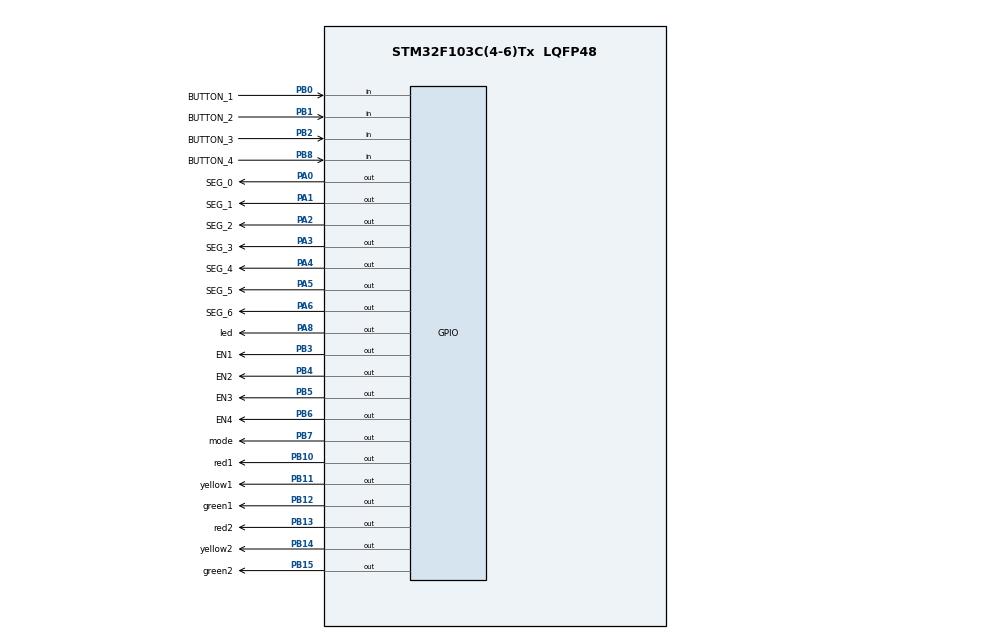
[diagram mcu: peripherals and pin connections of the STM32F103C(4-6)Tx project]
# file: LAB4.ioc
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Mcu.Family=STM32F1
Mcu.Name=STM32F103C(4-6)Tx
Mcu.Package=LQFP48
NVIC.PriorityGroup=NVIC_PRIORITYGROUP_4
NVIC.TIM2_IRQn=true\:0\:0\:false\:false\:true\:true\:true\:true
PA0-WKUP.GPIO_Label=SEG_0
PA0-WKUP.Signal=GPIO_Output
PA1.GPIO_Label=SEG_1
PA1.Signal=GPIO_Output
PA2.GPIO_Label=SEG_2
PA2.Signal=GPIO_Output
PA3.GPIO_Label=SEG_3
PA3.Signal=GPIO_Output
PA4.GPIO_Label=SEG_4
PA4.Signal=GPIO_Output
PA5.GPIO_Label=SEG_5
PA5.Signal=GPIO_Output
PA6.GPIO_Label=SEG_6
PA6.Signal=GPIO_Output
PA8.GPIO_Label=led
PA8.Signal=GPIO_Output
PB0.GPIO_Label=BUTTON_1
PB0.Signal=GPIO_Input
PB1.GPIO_Label=BUTTON_2
PB1.Signal=GPIO_Input
PB10.GPIO_Label=red1
PB10.Signal=GPIO_Output
PB11.GPIO_Label=yellow1
PB11.Signal=GPIO_Output
PB12.GPIO_Label=green1
PB12.Signal=GPIO_Output
PB13.GPIO_Label=red2
PB13.Signal=GPIO_Output
PB14.GPIO_Label=yellow2
PB14.Signal=GPIO_Output
PB15.GPIO_Label=green2
PB15.Signal=GPIO_Output
PB2.GPIO_Label=BUTTON_3
PB2.Signal=GPIO_Input
PB3.GPIO_Label=EN1
PB3.Signal=GPIO_Output
PB4.GPIO_Label=EN2
PB4.Signal=GPIO_Output
PB5.GPIO_Label=EN3
PB5.Signal=GPIO_Output
PB6.GPIO_Label=EN4
PB6.Signal=GPIO_Output
PB7.GPIO_Label=mode
PB7.Signal=GPIO_Output
PB8.GPIO_Label=BUTTON_4
PB8.Signal=GPIO_Input
ProjectManager.HeapSize=0x200
ProjectManager.StackSize=0x400
ProjectManager.TargetToolchain=STM32CubeIDE
RCC.APB1Freq_Value=8000000
RCC.APB2Freq_Value=8000000
TIM2.Period=9
TIM2.Prescaler=7999
VP_TIM2_VS_ClockSourceINT.Mode=Internal
board=custom

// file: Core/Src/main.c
/* USER CODE BEGIN Header */
/**
  ******************************************************************************
  * @file           : main.c
  * @brief          : Main program body
  ******************************************************************************
  * @attention
  *
  * Copyright (c) 2024 STMicroelectronics.
  * All rights reserved.
  *
  * This software is licensed under terms that can be found in the LICENSE file
  * in the root directory of this software component.
  * If no LICENSE file comes with this software, it is provided AS-IS.
  *
  ******************************************************************************
  */
/* USER CODE END Header */
#include "main.h"

/* USER CODE BEGIN Includes */
#include "scheduler.h"
#include "input_processing.h"
#include "input_reading.h"
 #include "led_display.h"
/* USER CODE END Includes */

TIM_HandleTypeDef htim2;

void SystemClock_Config(void);
static void MX_GPIO_Init(void);
static void MX_TIM2_Init(void);

/* USER CODE BEGIN 0 */
//void led1_test(){
//	HAL_GPIO_TogglePin(GPIOA, GPIO_PIN_2);
//}
void HAL_TIM_PeriodElapsedCallback (TIM_HandleTypeDef *htim)
{
	  SCH_Update();

	}
void led1_test(void){
	HAL_GPIO_TogglePin(GPIOA, GPIO_PIN_8);
}

/* USER CODE END 0 */

int main(void)
{

  /* MCU Configuration--------------------------------------------------------*/

  /* Reset of all peripherals, Initializes the Flash interface and the Systick. */
  HAL_Init();

  /* Configure the system clock */
  SystemClock_Config();

  /* Initialize all configured peripherals */
  MX_GPIO_Init();
  MX_TIM2_Init();

  /* Infinite loop */
  /* USER CODE BEGIN WHILE */
  HAL_TIM_Base_Start_IT(&htim2);
  SCH_Init();
  SCH_Add_Task(timeledlight, 2, 10);
  SCH_Add_Task(led1_test, 5, 1000);

  SCH_Add_Task(button_reading, 1, 10);
  SCH_Add_Task(handle_mode, 3, 1000);
  SCH_Add_Task(fsm_for_input_processing, 0, 10);
  while (1)
  {
	  SCH_Dispatch_Tasks();
//	  HAL_GPIO_TogglePin(GPIOB, GPIO_PIN_10);
//	  HAL_Delay(500);
    /* USER CODE END WHILE */

  }
}

void SystemClock_Config(void)
{
  RCC_OscInitTypeDef RCC_OscInitStruct = {0};
  RCC_ClkInitTypeDef RCC_ClkInitStruct = {0};

  /** Initializes the RCC Oscillators according to the specified parameters
  * in the RCC_OscInitTypeDef structure.
  */
  RCC_OscInitStruct.OscillatorType = RCC_OSCILLATORTYPE_HSI;
  RCC_OscInitStruct.HSIState = RCC_HSI_ON;
  RCC_OscInitStruct.HSICalibrationValue = RCC_HSICALIBRATION_DEFAULT;
  RCC_OscInitStruct.PLL.PLLState = RCC_PLL_NONE;
  if (HAL_RCC_OscConfig(&RCC_OscInitStruct) != HAL_OK)
  {
    Error_Handler();
  }

  /** Initializes the CPU, AHB and APB buses clocks
  */
  RCC_ClkInitStruct.ClockType = RCC_CLOCKTYPE_HCLK|RCC_CLOCKTYPE_SYSCLK
                              |RCC_CLOCKTYPE_PCLK1|RCC_CLOCKTYPE_PCLK2;
  RCC_ClkInitStruct.SYSCLKSource = RCC_SYSCLKSOURCE_HSI;
  RCC_ClkInitStruct.AHBCLKDivider = RCC_SYSCLK_DIV1;
  RCC_ClkInitStruct.APB1CLKDivider = RCC_HCLK_DIV1;
  RCC_ClkInitStruct.APB2CLKDivider = RCC_HCLK_DIV1;

  if (HAL_RCC_ClockConfig(&RCC_ClkInitStruct, FLASH_LATENCY_0) != HAL_OK)
  {
    Error_Handler();
  }
}

static void MX_TIM2_Init(void)
{

  TIM_ClockConfigTypeDef sClockSourceConfig = {0};
  TIM_MasterConfigTypeDef sMasterConfig = {0};

  htim2.Instance = TIM2;
  htim2.Init.Prescaler = 7999;
  htim2.Init.CounterMode = TIM_COUNTERMODE_UP;
  htim2.Init.Period = 9;
  htim2.Init.ClockDivision = TIM_CLOCKDIVISION_DIV1;
  htim2.Init.AutoReloadPreload = TIM_AUTORELOAD_PRELOAD_DISABLE;
  if (HAL_TIM_Base_Init(&htim2) != HAL_OK)
  {
    Error_Handler();
  }
  sClockSourceConfig.ClockSource = TIM_CLOCKSOURCE_INTERNAL;
  if (HAL_TIM_ConfigClockSource(&htim2, &sClockSourceConfig) != HAL_OK)
  {
    Error_Handler();
  }
  sMasterConfig.MasterOutputTrigger = TIM_TRGO_RESET;
  sMasterConfig.MasterSlaveMode = TIM_MASTERSLAVEMODE_DISABLE;
  if (HAL_TIMEx_MasterConfigSynchronization(&htim2, &sMasterConfig) != HAL_OK)
  {
    Error_Handler();
  }

}

static void MX_GPIO_Init(void)
{
  GPIO_InitTypeDef GPIO_InitStruct = {0};

  /* GPIO Ports Clock Enable */
  __HAL_RCC_GPIOA_CLK_ENABLE();
  __HAL_RCC_GPIOB_CLK_ENABLE();

  /*Configure GPIO pin Output Level */
  HAL_GPIO_WritePin(GPIOA, SEG_0_Pin|SEG_1_Pin|SEG_2_Pin|SEG_3_Pin
                          |SEG_4_Pin|SEG_5_Pin|SEG_6_Pin|led_Pin, GPIO_PIN_RESET);

  /*Configure GPIO pin Output Level */
  HAL_GPIO_WritePin(GPIOB, red1_Pin|yellow1_Pin|green1_Pin|red2_Pin
                          |yellow2_Pin|green2_Pin|EN1_Pin|EN2_Pin
                          |EN3_Pin|EN4_Pin|mode_Pin, GPIO_PIN_RESET);

  /*Configure GPIO pins : SEG_0_Pin SEG_1_Pin SEG_2_Pin SEG_3_Pin
                           SEG_4_Pin SEG_5_Pin SEG_6_Pin led_Pin */
  GPIO_InitStruct.Pin = SEG_0_Pin|SEG_1_Pin|SEG_2_Pin|SEG_3_Pin
                          |SEG_4_Pin|SEG_5_Pin|SEG_6_Pin|led_Pin;
  GPIO_InitStruct.Mode = GPIO_MODE_OUTPUT_PP;
  GPIO_InitStruct.Pull = GPIO_NOPULL;
  GPIO_InitStruct.Speed = GPIO_SPEED_FREQ_LOW;
  HAL_GPIO_Init(GPIOA, &GPIO_InitStruct);

  /*Configure GPIO pins : BUTTON_1_Pin BUTTON_2_Pin BUTTON_3_Pin BUTTON_4_Pin */
  GPIO_InitStruct.Pin = BUTTON_1_Pin|BUTTON_2_Pin|BUTTON_3_Pin|BUTTON_4_Pin;
  GPIO_InitStruct.Mode = GPIO_MODE_INPUT;
  GPIO_InitStruct.Pull = GPIO_PULLUP;
  HAL_GPIO_Init(GPIOB, &GPIO_InitStruct);

  /*Configure GPIO pins : red1_Pin yellow1_Pin green1_Pin red2_Pin
                           yellow2_Pin green2_Pin EN1_Pin EN2_Pin
                           EN3_Pin EN4_Pin mode_Pin */
  GPIO_InitStruct.Pin = red1_Pin|yellow1_Pin|green1_Pin|red2_Pin
                          |yellow2_Pin|green2_Pin|EN1_Pin|EN2_Pin
                          |EN3_Pin|EN4_Pin|mode_Pin;
  GPIO_InitStruct.Mode = GPIO_MODE_OUTPUT_PP;
  GPIO_InitStruct.Pull = GPIO_NOPULL;
  GPIO_InitStruct.Speed = GPIO_SPEED_FREQ_LOW;
  HAL_GPIO_Init(GPIOB, &GPIO_InitStruct);

}

/* USER CODE BEGIN 4 */
//void HAL_TIM_PeriodElapsedCallback(TIM_HandleTypeDef *htim){
//	SCH_Update();
//}
/* USER CODE END 4 */

void Error_Handler(void)
{
  __disable_irq();
  while (1)
  {
  }
}
